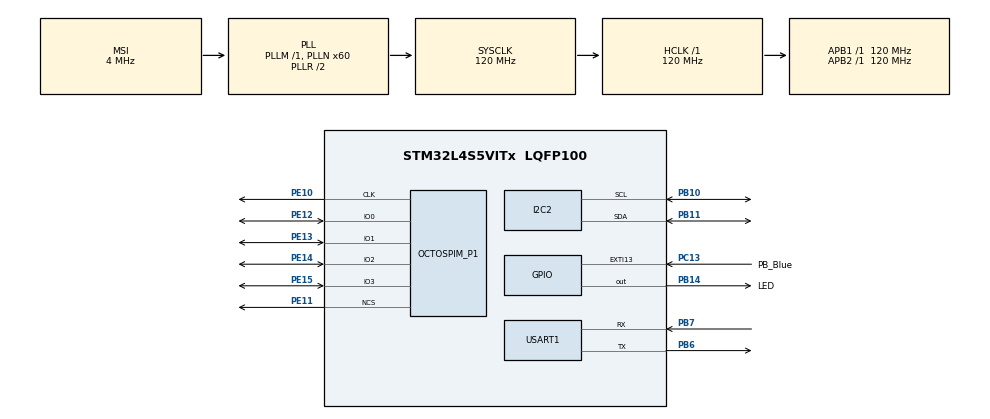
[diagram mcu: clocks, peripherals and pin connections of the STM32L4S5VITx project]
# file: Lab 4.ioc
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FREERTOS.Tasks01=defaultTask,0,128,StartDefaultTask,Default,NULL,Dynamic,NULL,NULL;read_sensors,0,256,OsTask_readSensors,Default,NULL,Dynamic,NULL,NULL;checkButton,0,128,OsTask_checkButton,Default,NULL,Dynamic,NULL,NULL;sendToUART,0,256,OsTask_sendToUART,Default,NULL,Dynamic,NULL,NULL
FREERTOS.configTOTAL_HEAP_SIZE=5000
I2C2.Timing=0x307075B1
Mcu.Family=STM32L4
Mcu.Name=STM32L4S5VITx
Mcu.Package=LQFP100
NVIC.EXTI15_10_IRQn=true\:5\:0\:false\:false\:true\:true\:true\:true\:true
NVIC.PriorityGroup=NVIC_PRIORITYGROUP_4
NVIC.TIM2_IRQn=true\:5\:0\:false\:false\:true\:true\:true\:true\:true
PB10.Mode=I2C
PB10.Signal=I2C2_SCL
PB11.Mode=I2C
PB11.Signal=I2C2_SDA
PB14.GPIO_Label=LED
PB14.Signal=GPIO_Output
PB6.Mode=Asynchronous
PB6.Signal=USART1_TX
PB7.Mode=Asynchronous
PB7.Signal=USART1_RX
PC13.GPIO_Label=PB_Blue
PC13.Signal=GPXTI13
PE10.Mode=O1_P1_CLK
PE10.Signal=OCTOSPIM_P1_CLK
PE11.Mode=OCTOSPI1_Port1_NCS
PE11.Signal=OCTOSPIM_P1_NCS
PE12.Mode=OCTOSPI1_IOL_Port1L
PE12.Signal=OCTOSPIM_P1_IO0
PE13.Mode=OCTOSPI1_IOL_Port1L
PE13.Signal=OCTOSPIM_P1_IO1
PE14.Mode=OCTOSPI1_IOL_Port1L
PE14.Signal=OCTOSPIM_P1_IO2
PE15.Mode=OCTOSPI1_IOL_Port1L
PE15.Signal=OCTOSPIM_P1_IO3
ProjectManager.HeapSize=0x200
ProjectManager.StackSize=0x400
ProjectManager.TargetToolchain=STM32CubeIDE
RCC.AHBFreq_Value=120000000
RCC.APB1Freq_Value=120000000
RCC.APB1TimFreq_Value=120000000
RCC.APB2Freq_Value=120000000
RCC.APB2TimFreq_Value=120000000
RCC.CortexFreq_Value=120000000
RCC.HCLKFreq_Value=120000000
RCC.HSE_VALUE=8000000
RCC.HSI48_VALUE=48000000
RCC.HSI_VALUE=16000000
RCC.LSE_VALUE=32768
RCC.MSI_VALUE=4000000
RCC.PLLN=60
RCC.SYSCLKFreq_VALUE=120000000
RCC.SYSCLKSource=RCC_SYSCLKSOURCE_PLLCLK
RCC.VCOOutputFreq_Value=240000000
TIM2.Period=120000000
USART1.VirtualMode-Asynchronous=VM_ASYNC
VP_FREERTOS_VS_CMSIS_V1.Mode=CMSIS_V1
VP_OCTOSPI1_VS_quad.Mode=quad_mode
VP_TIM2_VS_ClockSourceINT.Mode=Internal
board=custom

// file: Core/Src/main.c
/* USER CODE BEGIN Header */
/**
  ******************************************************************************
  * @file           : main.c
  * @brief          : Main program body
  ******************************************************************************
  * @attention
  *
  * Copyright (c) 2023 STMicroelectronics.
  * All rights reserved.
  *
  * This software is licensed under terms that can be found in the LICENSE file
  * in the root directory of this software component.
  * If no LICENSE file comes with this software, it is provided AS-IS.
  *
  ******************************************************************************
  */
/* USER CODE END Header */
#include "main.h"
#include "cmsis_os.h"

/* USER CODE BEGIN Includes */
#include <stdio.h>
#include <string.h>
#include "stm32l4s5i_iot01_accelero.h"
#include "stm32l4s5i_iot01_gyro.h"
#include "stm32l4s5i_iot01_hsensor.h"
#include "stm32l4s5i_iot01_magneto.h"
#include "stm32l4s5i_iot01_psensor.h"
#include "stm32l4s5i_iot01_tsensor.h"
#include "stm32l4s5i_iot01.h"
#include "stm32l4xx_it.h"
#include "stm32l4xx_hal_conf.h"
#include "stm32l4s5i_iot01_qspi.h"
/* USER CODE END Includes */

/* USER CODE BEGIN PD */
#define true 1
#define false 0
#define WRITE_READ_ADDR_TEMP 0x0000
#define WRITE_READ_ADDR_PRESSURE 0x1000
#define WRITE_READ_ADDR_GYROX 0x2000
#define WRITE_READ_ADDR_GYROY 0x3000
#define WRITE_READ_ADDR_GYROZ 0x4000
#define WRITE_READ_ADDR_MAGNETOX 0x5000
#define WRITE_READ_ADDR_MAGNETOY 0x6000
#define WRITE_READ_ADDR_MAGNETOZ 0x7000
#define MAX_SAMPLES 1000 // maximum values for samples
/* USER CODE END PD */

I2C_HandleTypeDef hi2c2;

OSPI_HandleTypeDef hospi1;

TIM_HandleTypeDef htim2;

UART_HandleTypeDef huart1;

osThreadId defaultTaskHandle;
osThreadId read_sensorsHandle;
osThreadId checkButtonHandle;
osThreadId sendToUARTHandle;

void SystemClock_Config(void);
static void MX_GPIO_Init(void);
static void MX_I2C2_Init(void);
static void MX_USART1_UART_Init(void);
static void MX_OCTOSPI1_Init(void);
static void MX_TIM2_Init(void);
void StartDefaultTask(void const * argument);
void OsTask_readSensors(void const * argument);
void OsTask_checkButton(void const * argument);
void OsTask_sendToUART(void const * argument);

/* USER CODE BEGIN PFP */
void writeSensorsToFlash(void);
void readSampleFlash(void);
void computeAvg(void);
void computeStats(void);
/* USER CODE END PFP */

/* USER CODE BEGIN 0 */
// global vars
// flags for interrupts
uint8_t tim2_it_flag = false;
uint8_t buttonPressed = false;
// global vars
float temperature = 0;
float pressure = 0;
int16_t magneto[3] = {0,0,0};
float gyro[3] = {0,0,0};
float tempVals[1000];
float pressureVals[1000];
int16_t magnetoXVals[1000];
int16_t magnetoYVals[1000];
int16_t magnetoZVals[1000];
float gyroXVals[1000];
float gyroYVals[1000];
float gyroZVals[1000];
uint16_t numSamples = 0;
float samplesAvg[8];
float samplesVariance[8];
char message[200] = "";
enum SENSOR_TYPE {
	TEMP,
	PRESSURE,
	MAGNETOMETER,
	GYRO,
	STATISTICS
};
enum SENSOR_VALS {
	TEMP_VAL,
	PRESSURE_VAL,
	MAG_X_VAL,
	MAG_Y_VAL,
	MAG_Z_VAL,
	GYRO_X_VAL,
	GYRO_Y_VAL,
	GYRO_Z_VAL
};
uint8_t currentSensor = 0;
/* USER CODE END 0 */

int main(void)
{
  /* USER CODE BEGIN 1 */

	//uint8_t example_arr2[5] = {69,1,420,1,69};

  /* USER CODE END 1 */

  /* MCU Configuration--------------------------------------------------------*/

  /* Reset of all peripherals, Initializes the Flash interface and the Systick. */
  HAL_Init();

  /* Configure the system clock */
  SystemClock_Config();

  /* Initialize all configured peripherals */
  MX_GPIO_Init();
  MX_I2C2_Init();
  MX_USART1_UART_Init();
  MX_OCTOSPI1_Init();
  MX_TIM2_Init();
  /* USER CODE BEGIN 2 */
  HAL_TIM_Base_Start_IT(&htim2);
  // init stuff
  // humidity & temp
  BSP_HSENSOR_Init();
  BSP_TSENSOR_Init();
  // pressure
  BSP_PSENSOR_Init();
  // accel & gyro
  BSP_ACCELERO_Init();
  BSP_GYRO_Init();
  // magnetometer
  BSP_MAGNETO_Init();
  // qspi
  BSP_QSPI_Init();

  /* USER CODE END 2 */

  /* Create the thread(s) */
  /* definition and creation of defaultTask */
  osThreadDef(defaultTask, StartDefaultTask, osPriorityNormal, 0, 128);
  defaultTaskHandle = osThreadCreate(osThread(defaultTask), NULL);

  /* definition and creation of read_sensors */
  osThreadDef(read_sensors, OsTask_readSensors, osPriorityNormal, 0, 256);
  read_sensorsHandle = osThreadCreate(osThread(read_sensors), NULL);

  /* definition and creation of checkButton */
  osThreadDef(checkButton, OsTask_checkButton, osPriorityNormal, 0, 128);
  checkButtonHandle = osThreadCreate(osThread(checkButton), NULL);

  /* definition and creation of sendToUART */
  osThreadDef(sendToUART, OsTask_sendToUART, osPriorityNormal, 0, 256);
  sendToUARTHandle = osThreadCreate(osThread(sendToUART), NULL);

  /* USER CODE BEGIN RTOS_THREADS */
	// erase block
  if (BSP_QSPI_Erase_Block(0) != QSPI_OK)
	 Error_Handler();
  if (BSP_QSPI_Erase_Block(1) != QSPI_OK)
	 Error_Handler();
  // reset error LED
  HAL_GPIO_WritePin(LED_GPIO_Port, LED_Pin, GPIO_PIN_RESET);
  /* add threads, ... */
  /* USER CODE END RTOS_THREADS */

  /* Start scheduler */
  osKernelStart();

  /* We should never get here as control is now taken by the scheduler */
  /* Infinite loop */
  /* USER CODE BEGIN WHILE */
  while (1)
  {
	  /*
	  temperature = BSP_TSENSOR_ReadTemp();
	  BSP_GYRO_GetXYZ(gyro);
	  snprintf(message, 200, "GyroX: %f, GyroY: %f, GyroZ: %f\r\n", gyro[0], gyro[1], gyro[2]);
	  HAL_UART_Transmit(&huart1, (uint8_t *) message, sizeof(message), 1000);
	  */
	  /*

	  while (!tim2_it_flag) {

	  }
	  tim2_it_flag = false; // reset flag
*/
/*
	  if (BSP_QSPI_Erase_Block((uint32_t) WRITE_READ_ADDR) != QSPI_OK)
		  Error_Handler();
	  if (BSP_QSPI_Write(example_arr, (uint32_t) WRITE_READ_ADDR,sizeof(example_arr)) != QSPI_OK)
		  Error_Handler();
	  if (BSP_QSPI_Read(example_copy, (uint32_t) WRITE_READ_ADDR,sizeof(example_copy)) != QSPI_OK)
		  Error_Handler();
		  */

    /* USER CODE END WHILE */

  }
}

void SystemClock_Config(void)
{
  RCC_OscInitTypeDef RCC_OscInitStruct = {0};
  RCC_ClkInitTypeDef RCC_ClkInitStruct = {0};

  /** Configure the main internal regulator output voltage
  */
  if (HAL_PWREx_ControlVoltageScaling(PWR_REGULATOR_VOLTAGE_SCALE1_BOOST) != HAL_OK)
  {
    Error_Handler();
  }

  /** Initializes the RCC Oscillators according to the specified parameters
  * in the RCC_OscInitTypeDef structure.
  */
  RCC_OscInitStruct.OscillatorType = RCC_OSCILLATORTYPE_MSI;
  RCC_OscInitStruct.MSIState = RCC_MSI_ON;
  RCC_OscInitStruct.MSICalibrationValue = 0;
  RCC_OscInitStruct.MSIClockRange = RCC_MSIRANGE_6;
  RCC_OscInitStruct.PLL.PLLState = RCC_PLL_ON;
  RCC_OscInitStruct.PLL.PLLSource = RCC_PLLSOURCE_MSI;
  RCC_OscInitStruct.PLL.PLLM = 1;
  RCC_OscInitStruct.PLL.PLLN = 60;
  RCC_OscInitStruct.PLL.PLLP = RCC_PLLP_DIV2;
  RCC_OscInitStruct.PLL.PLLQ = RCC_PLLQ_DIV2;
  RCC_OscInitStruct.PLL.PLLR = RCC_PLLR_DIV2;
  if (HAL_RCC_OscConfig(&RCC_OscInitStruct) != HAL_OK)
  {
    Error_Handler();
  }

  /** Initializes the CPU, AHB and APB buses clocks
  */
  RCC_ClkInitStruct.ClockType = RCC_CLOCKTYPE_HCLK|RCC_CLOCKTYPE_SYSCLK
                              |RCC_CLOCKTYPE_PCLK1|RCC_CLOCKTYPE_PCLK2;
  RCC_ClkInitStruct.SYSCLKSource = RCC_SYSCLKSOURCE_PLLCLK;
  RCC_ClkInitStruct.AHBCLKDivider = RCC_SYSCLK_DIV1;
  RCC_ClkInitStruct.APB1CLKDivider = RCC_HCLK_DIV1;
  RCC_ClkInitStruct.APB2CLKDivider = RCC_HCLK_DIV1;

  if (HAL_RCC_ClockConfig(&RCC_ClkInitStruct, FLASH_LATENCY_5) != HAL_OK)
  {
    Error_Handler();
  }
}

static void MX_I2C2_Init(void)
{

  hi2c2.Instance = I2C2;
  hi2c2.Init.Timing = 0x307075B1;
  hi2c2.Init.OwnAddress1 = 0;
  hi2c2.Init.AddressingMode = I2C_ADDRESSINGMODE_7BIT;
  hi2c2.Init.DualAddressMode = I2C_DUALADDRESS_DISABLE;
  hi2c2.Init.OwnAddress2 = 0;
  hi2c2.Init.OwnAddress2Masks = I2C_OA2_NOMASK;
  hi2c2.Init.GeneralCallMode = I2C_GENERALCALL_DISABLE;
  hi2c2.Init.NoStretchMode = I2C_NOSTRETCH_DISABLE;
  if (HAL_I2C_Init(&hi2c2) != HAL_OK)
  {
    Error_Handler();
  }

  /** Configure Analogue filter
  */
  if (HAL_I2CEx_ConfigAnalogFilter(&hi2c2, I2C_ANALOGFILTER_ENABLE) != HAL_OK)
  {
    Error_Handler();
  }

  /** Configure Digital filter
  */
  if (HAL_I2CEx_ConfigDigitalFilter(&hi2c2, 0) != HAL_OK)
  {
    Error_Handler();
  }

}

static void MX_OCTOSPI1_Init(void)
{

  OSPIM_CfgTypeDef OSPIM_Cfg_Struct = {0};

  /* OCTOSPI1 parameter configuration*/
  hospi1.Instance = OCTOSPI1;
  hospi1.Init.FifoThreshold = 1;
  hospi1.Init.DualQuad = HAL_OSPI_DUALQUAD_DISABLE;
  hospi1.Init.MemoryType = HAL_OSPI_MEMTYPE_MICRON;
  hospi1.Init.DeviceSize = 32;
  hospi1.Init.ChipSelectHighTime = 1;
  hospi1.Init.FreeRunningClock = HAL_OSPI_FREERUNCLK_DISABLE;
  hospi1.Init.ClockMode = HAL_OSPI_CLOCK_MODE_0;
  hospi1.Init.ClockPrescaler = 1;
  hospi1.Init.SampleShifting = HAL_OSPI_SAMPLE_SHIFTING_NONE;
  hospi1.Init.DelayHoldQuarterCycle = HAL_OSPI_DHQC_DISABLE;
  hospi1.Init.ChipSelectBoundary = 0;
  hospi1.Init.DelayBlockBypass = HAL_OSPI_DELAY_BLOCK_BYPASSED;
  if (HAL_OSPI_Init(&hospi1) != HAL_OK)
  {
    Error_Handler();
  }
  OSPIM_Cfg_Struct.ClkPort = 1;
  OSPIM_Cfg_Struct.NCSPort = 1;
  OSPIM_Cfg_Struct.IOLowPort = HAL_OSPIM_IOPORT_1_LOW;
  if (HAL_OSPIM_Config(&hospi1, &OSPIM_Cfg_Struct, HAL_OSPI_TIMEOUT_DEFAULT_VALUE) != HAL_OK)
  {
    Error_Handler();
  }

}

static void MX_TIM2_Init(void)
{

  TIM_ClockConfigTypeDef sClockSourceConfig = {0};
  TIM_MasterConfigTypeDef sMasterConfig = {0};

  htim2.Instance = TIM2;
  htim2.Init.Prescaler = 0;
  htim2.Init.CounterMode = TIM_COUNTERMODE_UP;
  htim2.Init.Period = 120000000;
  htim2.Init.ClockDivision = TIM_CLOCKDIVISION_DIV1;
  htim2.Init.AutoReloadPreload = TIM_AUTORELOAD_PRELOAD_DISABLE;
  if (HAL_TIM_Base_Init(&htim2) != HAL_OK)
  {
    Error_Handler();
  }
  sClockSourceConfig.ClockSource = TIM_CLOCKSOURCE_INTERNAL;
  if (HAL_TIM_ConfigClockSource(&htim2, &sClockSourceConfig) != HAL_OK)
  {
    Error_Handler();
  }
  sMasterConfig.MasterOutputTrigger = TIM_TRGO_RESET;
  sMasterConfig.MasterSlaveMode = TIM_MASTERSLAVEMODE_DISABLE;
  if (HAL_TIMEx_MasterConfigSynchronization(&htim2, &sMasterConfig) != HAL_OK)
  {
    Error_Handler();
  }

}

static void MX_USART1_UART_Init(void)
{

  huart1.Instance = USART1;
  huart1.Init.BaudRate = 115200;
  huart1.Init.WordLength = UART_WORDLENGTH_8B;
  huart1.Init.StopBits = UART_STOPBITS_1;
  huart1.Init.Parity = UART_PARITY_NONE;
  huart1.Init.Mode = UART_MODE_TX_RX;
  huart1.Init.HwFlowCtl = UART_HWCONTROL_NONE;
  huart1.Init.OverSampling = UART_OVERSAMPLING_16;
  huart1.Init.OneBitSampling = UART_ONE_BIT_SAMPLE_DISABLE;
  huart1.Init.ClockPrescaler = UART_PRESCALER_DIV1;
  huart1.AdvancedInit.AdvFeatureInit = UART_ADVFEATURE_NO_INIT;
  if (HAL_UART_Init(&huart1) != HAL_OK)
  {
    Error_Handler();
  }
  if (HAL_UARTEx_SetTxFifoThreshold(&huart1, UART_TXFIFO_THRESHOLD_1_8) != HAL_OK)
  {
    Error_Handler();
  }
  if (HAL_UARTEx_SetRxFifoThreshold(&huart1, UART_RXFIFO_THRESHOLD_1_8) != HAL_OK)
  {
    Error_Handler();
  }
  if (HAL_UARTEx_DisableFifoMode(&huart1) != HAL_OK)
  {
    Error_Handler();
  }

}

static void MX_GPIO_Init(void)
{
  GPIO_InitTypeDef GPIO_InitStruct = {0};

  /* GPIO Ports Clock Enable */
  __HAL_RCC_GPIOC_CLK_ENABLE();
  __HAL_RCC_GPIOE_CLK_ENABLE();
  __HAL_RCC_GPIOB_CLK_ENABLE();

  /*Configure GPIO pin Output Level */
  HAL_GPIO_WritePin(LED_GPIO_Port, LED_Pin, GPIO_PIN_RESET);

  /*Configure GPIO pin : PB_Blue_Pin */
  GPIO_InitStruct.Pin = PB_Blue_Pin;
  GPIO_InitStruct.Mode = GPIO_MODE_IT_RISING;
  GPIO_InitStruct.Pull = GPIO_NOPULL;
  HAL_GPIO_Init(PB_Blue_GPIO_Port, &GPIO_InitStruct);

  /*Configure GPIO pin : LED_Pin */
  GPIO_InitStruct.Pin = LED_Pin;
  GPIO_InitStruct.Mode = GPIO_MODE_OUTPUT_PP;
  GPIO_InitStruct.Pull = GPIO_NOPULL;
  GPIO_InitStruct.Speed = GPIO_SPEED_FREQ_LOW;
  HAL_GPIO_Init(LED_GPIO_Port, &GPIO_InitStruct);

  /* EXTI interrupt init*/
  HAL_NVIC_SetPriority(EXTI15_10_IRQn, 5, 0);
  HAL_NVIC_EnableIRQ(EXTI15_10_IRQn);

}

/* USER CODE BEGIN 4 */
/*------------------------- INTERRUPTS --------------------------*/
/*
void HAL_TIM_PeriodElapsedCallback(TIM_HandleTypeDef *htim) {
	tim2_it_flag = (tim2_it_flag+1)%2; // toggle flag
}
*/
void HAL_GPIO_EXTI_Callback (uint16_t GPIO_Pin) {
	// button
	if (GPIO_Pin == PB_Blue_Pin) {
		buttonPressed = true;
	}
}

/**
 * Write using sensor data using QSPI to flash
 */
void writeSensorsToFlash() {
	if (numSamples <= MAX_SAMPLES) {
		// writing to flash
		if (BSP_QSPI_Write(&temperature, WRITE_READ_ADDR_TEMP+numSamples*sizeof(float), sizeof(float)) != QSPI_OK)
			Error_Handler();
		if (BSP_QSPI_Write(&pressure, WRITE_READ_ADDR_PRESSURE+numSamples*sizeof(float), sizeof(float)) != QSPI_OK)
			Error_Handler();
		if (BSP_QSPI_Write(magneto, WRITE_READ_ADDR_MAGNETOX+numSamples*sizeof(int16_t), sizeof(int16_t)) != QSPI_OK)
			Error_Handler();
		if (BSP_QSPI_Write(&(magneto[1]), WRITE_READ_ADDR_MAGNETOY+numSamples*sizeof(int16_t), sizeof(int16_t)) != QSPI_OK)
			Error_Handler();
		if (BSP_QSPI_Write(&(magneto[2]), WRITE_READ_ADDR_MAGNETOZ+numSamples*sizeof(int16_t), sizeof(int16_t)) != QSPI_OK)
			Error_Handler();
		if (BSP_QSPI_Write(gyro, WRITE_READ_ADDR_GYROX+numSamples*sizeof(float), sizeof(float)) != QSPI_OK)
			Error_Handler();
		if (BSP_QSPI_Write(&(gyro[1]), WRITE_READ_ADDR_GYROY+numSamples*sizeof(float), sizeof(float)) != QSPI_OK)
			Error_Handler();
		if (BSP_QSPI_Write(&(gyro[2]), WRITE_READ_ADDR_GYROZ+numSamples*sizeof(float), sizeof(float)) != QSPI_OK)
			Error_Handler();
		// increment num of values
		numSamples++;
	} else {
		// we have reached a maximum amount of data, erase block and reset counter
		if (BSP_QSPI_Erase_Block(0) != QSPI_OK)
			Error_Handler();
		numSamples = 0;
	}
}

/**
 * Read values stored in flash
 */
void readSampleFlash() {
	// read all sensor values
	if (BSP_QSPI_Read(tempVals, WRITE_READ_ADDR_TEMP, numSamples*sizeof(float)) != QSPI_OK)
		Error_Handler();
	if (BSP_QSPI_Read(pressureVals, WRITE_READ_ADDR_PRESSURE, numSamples*sizeof(float)) != QSPI_OK)
		Error_Handler();
	if (BSP_QSPI_Read(magnetoXVals, WRITE_READ_ADDR_MAGNETOX, numSamples*sizeof(float)) != QSPI_OK)
		Error_Handler();
	if (BSP_QSPI_Read(magnetoYVals, WRITE_READ_ADDR_MAGNETOY, numSamples*sizeof(float)) != QSPI_OK)
		Error_Handler();
	if (BSP_QSPI_Read(magnetoZVals, WRITE_READ_ADDR_MAGNETOZ, numSamples*sizeof(float)) != QSPI_OK)
		Error_Handler();
	if (BSP_QSPI_Read(gyroXVals, WRITE_READ_ADDR_GYROX, numSamples*sizeof(float)) != QSPI_OK)
		Error_Handler();
	if (BSP_QSPI_Read(gyroYVals, WRITE_READ_ADDR_GYROY, numSamples*sizeof(float)) != QSPI_OK)
		Error_Handler();
	if (BSP_QSPI_Read(gyroZVals, WRITE_READ_ADDR_GYROZ, numSamples*sizeof(float)) != QSPI_OK)
		Error_Handler();
}

/**
 * Computes the averages of all the samples, stores them in samplesAvg global array
 */
void computeAvg() {
	float sumTemp;
	float sumPressure;
	float sumMagnetoX;
	float sumMagnetoY;
	float sumMagnetoZ;
	float sumGyroX;
	float sumGyroY;
	float sumGyroZ;
	for (int i = 0; i < numSamples; i++) {
		sumTemp += tempVals[i];
		sumPressure += pressureVals[i];
		sumMagnetoX += (float)magnetoXVals[i];
		sumMagnetoY += (float)magnetoYVals[i];
		sumMagnetoZ += (float)magnetoZVals[i];
		sumGyroX += gyroXVals[i];
		sumGyroY += gyroYVals[i];
		sumGyroZ += gyroZVals[i];

	}
	if (numSamples != 0) {
		samplesAvg[TEMP_VAL] = sumTemp/numSamples;
		samplesAvg[PRESSURE_VAL] = sumPressure/numSamples;
		samplesAvg[MAG_X_VAL] = sumMagnetoX/numSamples;
		samplesAvg[MAG_Y_VAL] = sumMagnetoY/numSamples;
		samplesAvg[MAG_Z_VAL] = sumMagnetoZ/numSamples;
		samplesAvg[GYRO_X_VAL] = sumGyroX/numSamples;
		samplesAvg[GYRO_Y_VAL] = sumGyroY/numSamples;
		samplesAvg[GYRO_Z_VAL] = sumGyroZ/numSamples;

	}
}

void computeStats(){
    computeAvg();
    float avgTemp;
    float avgPressure;
	float avgMagnetoX;
	float avgMagnetoY;
	float avgMagnetoZ;
	float avgGyroX;
	float avgGyroY;
	float avgGyroZ;
	float varianceSumTemp;
    float varianceSumPressure;
    float varianceSumMagnetoX;
    float varianceSumMagnetoY;
    float varianceSumMagnetoZ;
    float varianceSumGyroX;
    float varianceSumGyroY;
    float varianceSumGyroZ;
    if (numSamples != 0) {
        avgTemp=samplesAvg[TEMP_VAL];
        avgPressure=samplesAvg[PRESSURE_VAL];
        avgMagnetoX=(float)samplesAvg[MAG_X_VAL];
        avgMagnetoY=(float)samplesAvg[MAG_Y_VAL];
        avgMagnetoZ=(float)samplesAvg[MAG_Z_VAL];
        avgGyroX=samplesAvg[GYRO_X_VAL];
        avgGyroY=samplesAvg[GYRO_Y_VAL];
        avgGyroZ=samplesAvg[GYRO_Z_VAL];

        for (int i=0; i < numSamples;i++){
            varianceSumTemp += (tempVals[i]-avgTemp)*(tempVals[i]-avgTemp);
            varianceSumPressure += (pressureVals[i]-avgPressure)*(pressureVals[i]-avgPressure);
            varianceSumMagnetoX += (magnetoXVals[i]-avgMagnetoX)*(magnetoXVals[i]-avgMagnetoX);
            varianceSumMagnetoY += (magnetoYVals[i]-avgMagnetoY)*(magnetoYVals[i]-avgMagnetoY);
            varianceSumMagnetoZ += (magnetoZVals[i]-avgMagnetoZ)*(magnetoZVals[i]-avgMagnetoZ);
            varianceSumGyroX += (gyroXVals[i]-avgGyroX)*(gyroXVals[i]-avgGyroX);
            varianceSumGyroY += (gyroYVals[i]-avgGyroY)*(gyroYVals[i]-avgGyroY);
            varianceSumGyroZ += (gyroZVals[i]-avgGyroZ)*(gyroZVals[i]-avgGyroZ);
        }
        samplesVariance[TEMP_VAL] = varianceSumTemp/(numSamples-1);
        samplesVariance[PRESSURE_VAL] = varianceSumPressure/(numSamples-1);
        samplesVariance[MAG_X_VAL] = varianceSumMagnetoX/(numSamples-1);
        samplesVariance[MAG_Y_VAL] = varianceSumMagnetoY/(numSamples-1);
        samplesVariance[MAG_Z_VAL] = varianceSumMagnetoZ/(numSamples-1);
        samplesVariance[GYRO_X_VAL] = varianceSumGyroX/(numSamples-1);
        samplesVariance[GYRO_Y_VAL] = varianceSumGyroY/(numSamples-1);
        samplesVariance[GYRO_Z_VAL] = varianceSumGyroZ/(numSamples-1);

    }

}

/* USER CODE END 4 */

void StartDefaultTask(void const * argument)
{
  for(;;)
  {
    osDelay(1);
  }
}

void OsTask_readSensors(void const * argument)
{
  /* USER CODE BEGIN OsTask_readSensors */
  /* Infinite loop */
  for(;;)
  {
  temperature = BSP_TSENSOR_ReadTemp();
  pressure = BSP_PSENSOR_ReadPressure();
  BSP_MAGNETO_GetXYZ((int16_t*)magneto);
  BSP_GYRO_GetXYZ(gyro);
  writeSensorsToFlash();
  readSampleFlash();
  osDelay(1000);
  }
  /* USER CODE END OsTask_readSensors */
}

void OsTask_checkButton(void const * argument)
{
  /* USER CODE BEGIN OsTask_checkButton */
  /* Infinite loop */
  for(;;)
  {
	while(true) {
		if (buttonPressed)
			break;
	}
	buttonPressed = false;
	currentSensor = (currentSensor+1)%5; // toggle sensorType
    osDelay(1);
  }
  /* USER CODE END OsTask_checkButton */
}

void OsTask_sendToUART(void const * argument)
{
  /* USER CODE BEGIN OsTask_sendToUART */
  /* Infinite loop */
  for(;;)
  {
	if (currentSensor == STATISTICS) {
		readSampleFlash();
		computeStats();
		snprintf(message, 200, "Current statistics over %d samples: \r\n \t\t AvgTemp: %f \t\t AvgPressure: %f \t\t\r\n", numSamples, samplesAvg[TEMP_VAL], samplesAvg[PRESSURE_VAL]);
		HAL_UART_Transmit(&huart1, (uint8_t *) message, sizeof(message), 1000);
		memset(message, 0, sizeof(message));
		snprintf(message, 200, "\r\n \t\t VarTemp: %f \t\t VarPressure: %f \t\t\r\n", samplesVariance[TEMP_VAL], samplesVariance[PRESSURE_VAL]);
		HAL_UART_Transmit(&huart1, (uint8_t *) message, sizeof(message), 1000);
		memset(message, 0, sizeof(message));
		snprintf(message, 200, "\r\n \t\t AvgMagnetoX: %f \t\t AvgMagnetoY: %f \t\t AvgMagnetoZ: %f \t\t\r\n", samplesAvg[MAG_X_VAL], samplesAvg[MAG_Y_VAL], samplesAvg[MAG_Z_VAL]);
		HAL_UART_Transmit(&huart1, (uint8_t *) message, sizeof(message), 1000);
		memset(message, 0, sizeof(message));
		snprintf(message, 200, "\r\n \t\t VarMagnetoX: %f \t\t VarMagnetoY: %f \t\t VarMagnetoZ: %f \t\t\r\n", samplesVariance[MAG_X_VAL], samplesVariance[MAG_Y_VAL], samplesVariance[MAG_Z_VAL]);
		HAL_UART_Transmit(&huart1, (uint8_t *) message, sizeof(message), 1000);
		memset(message, 0, sizeof(message));
		snprintf(message, 200, "\r\n \t\t AvgGyroX: %f \t\t AvgGyroY: %f \t\t AvgGyroZ: %f \t\t\r\n", samplesAvg[GYRO_X_VAL], samplesAvg[GYRO_Y_VAL], samplesAvg[GYRO_Z_VAL]);
		HAL_UART_Transmit(&huart1, (uint8_t *) message, sizeof(message), 1000);
		memset(message, 0, sizeof(message));
		snprintf(message, 200, "\r\n \t\t VarGyroX: %f \t\t VarGyroY: %f \t\t VarGyroZ: %f \t\t\r\n", samplesVariance[GYRO_X_VAL], samplesVariance[GYRO_Y_VAL], samplesVariance[GYRO_Z_VAL]);
		HAL_UART_Transmit(&huart1, (uint8_t *) message, sizeof(message), 1000);
		memset(message, 0, sizeof(message));
		while (currentSensor == STATISTICS) {
			// wait for button press
		}
		continue;
	}
	snprintf(message, 200, "currentSensor: %d\r\n",currentSensor);
	HAL_UART_Transmit(&huart1, (uint8_t *) message, sizeof(message), 1000);
	memset(message, 0, sizeof(message));
	switch (currentSensor) {
		case TEMP:
			snprintf(message, 200, "Temperature: %f\r\n",temperature);
			break;
		case PRESSURE:
			snprintf(message, 200, "Pressure: %f\r\n", pressure);
		    break;
		case MAGNETOMETER:
			snprintf(message, 200, "MagnetoX: %d, MagnetoY: %d, MagnetoZ: %d\r\n", magneto[0], magneto[1], magneto[2]);
			break;
		case GYRO:
			snprintf(message, 200, "GyroX: %f, GyroY: %f, GyroZ: %f\r\n", gyro[0], gyro[1], gyro[2]);
			break;
	}
	HAL_UART_Transmit(&huart1, (uint8_t *) message, sizeof(message), 1000);
	memset(message, 0, sizeof(message));
	osDelay(1000);
  }
  /* USER CODE END OsTask_sendToUART */
}

void Error_Handler(void)
{
  /* USER CODE BEGIN Error_Handler_Debug */
  /* User can add his own implementation to report the HAL error return state */
  __disable_irq();
  while (1)
  {
	  HAL_GPIO_WritePin(LED_GPIO_Port, LED_Pin, GPIO_PIN_SET);
  }
  /* USER CODE END Error_Handler_Debug */
}
